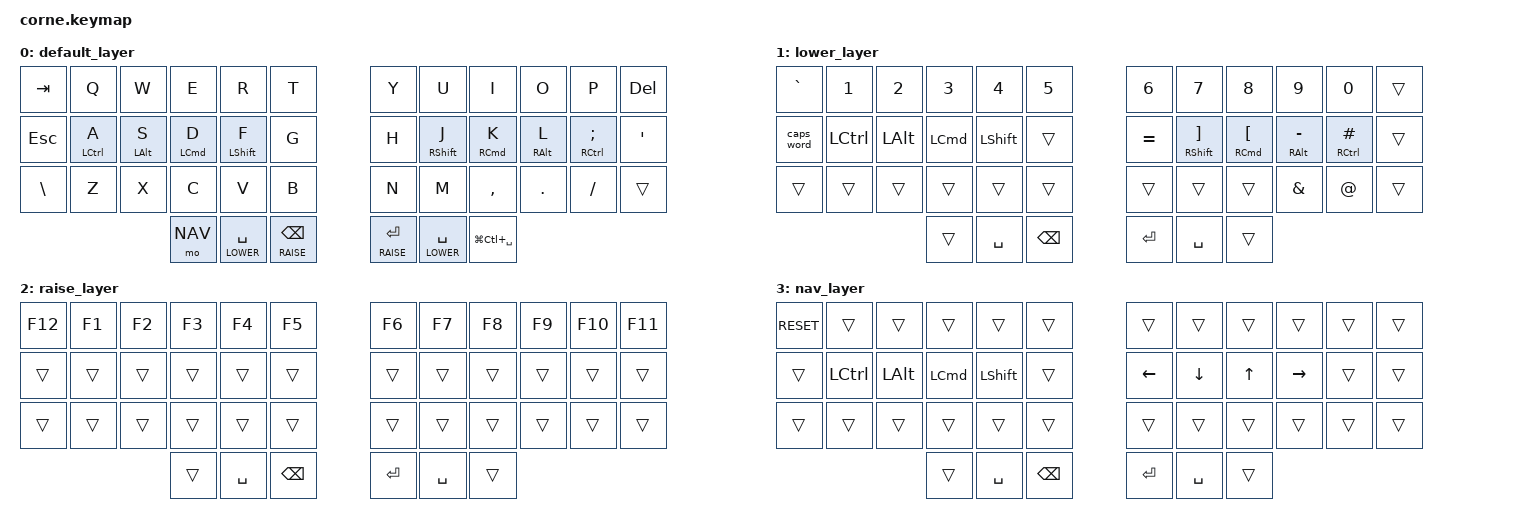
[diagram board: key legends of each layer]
/*
 * Copyright (c) 2020 The ZMK Contributors
 *
 * SPDX-License-Identifier: MIT
 */

#include <behaviors.dtsi>
#include <dt-bindings/zmk/keys.h>
#include <dt-bindings/zmk/bt.h>

#define DEFAULT 0
#define LOWER   1
#define RAISE   2
#define NAV     3

// todo: make dongle work.
// https://github.com/zmkfirmware/zmk/tree/main/app/boards/shields/corne
// https://github.com/aroum/zmk-enki42

&lt {
    quick-tap-ms = <200>;
    flavor = "balanced";
};

&caps_word {
    continue-list = <UNDERSCORE MINUS>;
};

/ {
      behaviors {
        hm: hold_preferred_homerow_mods {
            compatible = "zmk,behavior-hold-tap";
            #binding-cells = <2>;
            tapping-term-ms = <150>;
            quick-tap-ms = <200>;
            require-prior-idle-ms = <125>;
            flavor = "hold-preferred";
            bindings = <&kp>, <&kp>;
        };
        tm: tap_preferred_homerow_mods {
            compatible = "zmk,behavior-hold-tap";
            #binding-cells = <2>;
            tapping-term-ms = <150>;
            quick-tap-ms = <200>;
            require-prior-idle-ms = <125>;
            flavor = "tap-preferred";
            bindings = <&kp>, <&kp>;
        };
    };
        keymap {
                compatible = "zmk,keymap";
                default_layer {
                        bindings = <
//,----------------------------------------------------------------------.            ,----------------------------------------------------------------------.
    &kp TAB         &kp Q       &kp W        &kp E         &kp R   &kp T               &kp Y       &kp U          &kp I       &kp O           &kp P   &kp DEL
//|---------+-------------+-----------+------------+-------------+-------|            |------+-------------+------------+-----------+---------------+--------|
    &kp ESC   &tm LCTRL A   &tm LALT S  &tm LCMD D   &hm LSHFT F   &kp G               &kp H   &hm RSHFT J   &tm RCMD K   &tm RALT L  &tm RCTL SEMI   &kp SQT
//|---------+-------------+-----------+------------+-------------+-------|            |------+-------------+------------+-----------+---------------+--------|
   &kp BSLH         &kp Z       &kp X        &kp C         &kp V   &kp B               &kp N       &kp M      &kp COMMA     &kp DOT        &kp FSLH   &trans
//|---------+-------------+-----------+------------+-------------+-------+----|  |----+------+-------------+------------+-----------+---------------+--------|
                                    &mo NAV   &lt LOWER SPACE   &lt RAISE BSPC     &lt RAISE RET   &lt LOWER SPACE   &kp LG(LC(SPACE))
                                 //`--------+-----------------+---------------'  `---------------+-----------------+------------------'
                        >;
                };
                lower_layer {
                        bindings = <
//,------------------------------------------------------------.            ,---------------------------------------------------------------------------------.
   &kp GRAVE   &kp N1    &kp N2     &kp N3      &kp N4   &kp N5              &kp N6           &kp N7          &kp N8          &kp N9           &kp N0   &trans
//|-------+-----------+---------+----------+-----------+-------|            |------+-----------------+---------------+---------------+----------------+-------|
   &caps_word  &kp LCTRL   &kp LALT  &kp LCMD   &kp LSHFT   &trans           &kp EQUAL  &hm RSHFT RBKT   &hm RCMD LBKT   &hm RALT MINUS  &hm RCTL HASH   &trans
//|-------+-----------+---------+----------+-----------+-------|            |------+-----------------+---------------+---------------+----------------+-------|
   &trans      &trans    &trans     &trans      &trans   &trans              &trans           &trans          &trans     &kp AMPERSAND    &kp AT_SIGN   &trans
//|-------+-----------+---------+----------+-----------+-------+----|  |----+------+-----------------+---------------+---------------+----------------+-------|
                                       &trans   &kp SPACE   &kp BSPC    &kp RET   &kp SPACE   &trans
                                    //`-------+-----------+---------'  `--------+-----------+-------'
                        >;
                };
                raise_layer {
                        bindings = <
//,----------------------------------------------------.            ,-----------------------------------------------------.
   &kp F12   &kp F1   &kp F2   &kp F3   &kp F4   &kp F5              &kp F6   &kp F7   &kp F8   &kp F9   &kp F10   &kp F11
//|--------+--------+--------+--------+--------+-------|            |------+---------+--------+--------+---------+--------|
    &trans   &trans   &trans   &trans   &trans   &trans              &trans   &trans   &trans   &trans    &trans   &trans
//|--------+--------+--------+--------+--------+-------|            |------+---------+--------+--------+---------+--------|
    &trans   &trans   &trans   &trans   &trans   &trans              &trans   &trans   &trans   &trans    &trans   &trans
//|--------+--------+--------+--------+--------+-------+----|  |----+------+---------+--------+--------+---------+--------|
                               &trans   &kp SPACE   &kp BSPC    &kp RET   &kp SPACE   &trans
                            //`-------+-----------+---------'  `--------+-----------+-------'
                        >;
                };
                nav_layer {
                        bindings = <
//,-----------------------------------------------------------------.            ,----------------------------------------------------------.
   &kp C_RESET      &trans    &trans     &trans      &trans   &trans                &trans     &trans   &trans      &trans   &trans   &trans
//|------------+-----------+---------+----------+-----------+-------|            |---------+----------+--------+-----------+--------+-------|
    &trans       &kp LCTRL   &kp LALT  &kp LCMD   &kp LSHFT   &trans              &kp LEFT   &kp DOWN   &kp UP   &kp RIGHT   &trans   &trans
//|------------+-----------+---------+----------+-----------+-------|            |---------+----------+--------+-----------+--------+-------|
    &trans          &trans    &trans     &trans      &trans   &trans                &trans     &trans   &trans      &trans   &trans   &trans
//|------------+-----------+---------+----------+-----------+-------+----|  |----+---------+----------+--------+-----------+--------+-------|
                                            &trans   &kp SPACE   &kp BSPC    &kp RET   &kp SPACE   &trans
                                         //`-------+-----------+---------'  `--------+-----------+-------'
                        >;
                };
        };
};
